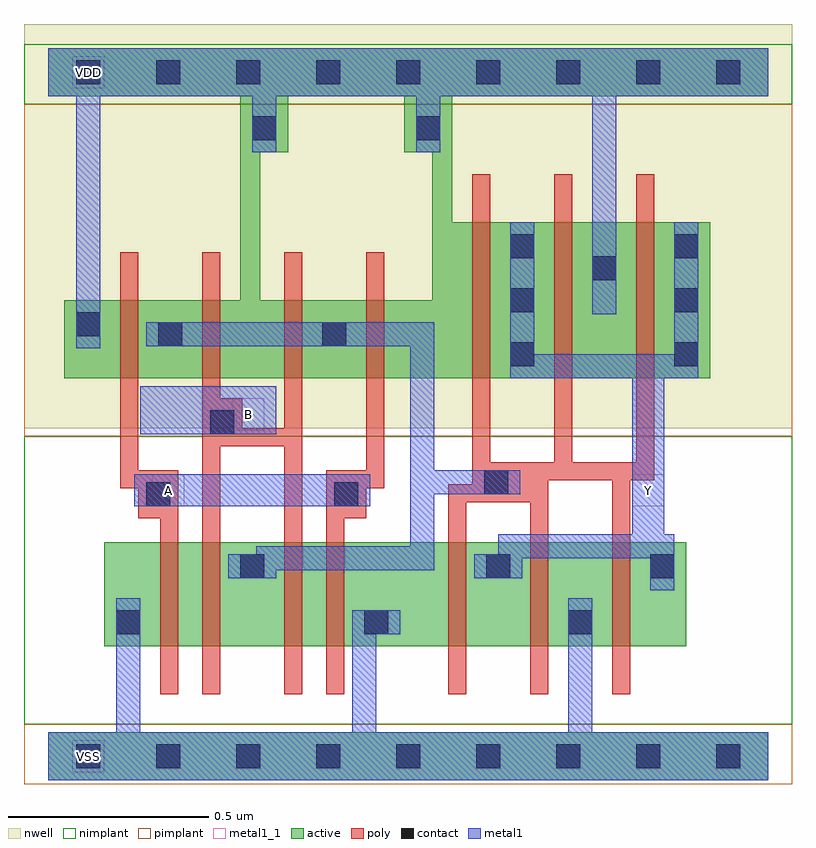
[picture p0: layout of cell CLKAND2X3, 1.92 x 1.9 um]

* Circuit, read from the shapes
.subckt CLKAND2X3 A B VDD VSS Y
M1 n1 A VSS VSS nfet w=0.26u l=0.045u
M2 n2 B n1 VSS nfet w=0.26u l=0.045u
M3 n3 B n2 VSS nfet w=0.26u l=0.045u
M4 VSS A n3 VSS nfet w=0.26u l=0.045u
M5 Y n2 VSS VSS nfet w=0.26u l=0.045u m=3
M6 n2 A VDD VDD pfet w=0.195u l=0.045u m=2
M7 VDD B n2 VDD pfet w=0.195u l=0.045u m=2
M8 Y n2 VDD VDD pfet w=0.39u l=0.045u m=3
.ends

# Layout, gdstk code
import gdstk
lib = gdstk.Library(unit=1e-6, precision=5e-10)
def R(c, l, rs):  # rectangles x0, y0, x1, y1
    for r in rs: c.add(gdstk.rectangle(r[:2], r[2:], *l))
def A(c, l, x, y, w, h, nx, ny, dx, dy):  # array of equal rectangles
    R(c, l, [(x+i*dx, y+j*dy, x+i*dx+w, y+j*dy+h) for i in range(nx) for j in range(ny)])
def P(c, l, *ps):  # polygons
    for p in ps: c.add(gdstk.Polygon(p, *l))
active = (1, 0)
nwell = (2, 0)
poly = (3, 0)
nimplant = (4, 0)
pimplant = (5, 0)
contact = (6, 0)
metal1 = (7, 0)
metal1_1 = (7, 1)

clkand2x3 = lib.new_cell('CLKAND2X3')
R(clkand2x3, active, [(0,-0.06,1.8,0.06), (0.14,0.275,1.595,0.535)])
P(clkand2x3, active, [(0,1.77),(1.8,1.77),(1.8,1.65),(1.01,1.65),(1.01,1.335),(1.655,1.335),(1.655,0.945),(0.04,0.945),(0.04,1.14),(0.48,1.14),(0.48,1.65),(0.6,1.65),(0.6,1.51),(0.53,1.51),(0.53,1.14),(0.96,1.14),(0.96,1.51),(0.89,1.51),(0.89,1.65),(0,1.65)])
R(clkand2x3, nwell, [(-0.06,0.82,1.86,1.83)])
P(clkand2x3, poly, [(1.06,1.455),(1.105,1.455),(1.105,0.735),(1.265,0.735),(1.265,1.455),(1.31,1.455),(1.31,0.735),(1.47,0.735),(1.47,1.455),(1.515,1.455),(1.515,0.69),(1.455,0.69),(1.455,0.155),(1.41,0.155),(1.41,0.69),(1.25,0.69),(1.25,0.155),(1.205,0.155),(1.205,0.635),(1.045,0.635),(1.045,0.155),(1,0.155),(1,0.68),(1.06,0.68)],
  [(0.18,1.26),(0.225,1.26),(0.225,0.715),(0.325,0.715),(0.325,0.155),(0.28,0.155),(0.28,0.595),(0.225,0.595),(0.225,0.67),(0.18,0.67)],
  [(0.385,1.26),(0.43,1.26),(0.43,0.895),(0.485,0.895),(0.485,0.82),(0.59,0.82),(0.59,1.26),(0.635,1.26),(0.635,0.155),(0.59,0.155),(0.59,0.775),(0.43,0.775),(0.43,0.155),(0.385,0.155)],
  [(0.795,1.26),(0.84,1.26),(0.84,0.67),(0.795,0.67),(0.795,0.595),(0.74,0.595),(0.74,0.155),(0.695,0.155),(0.695,0.715),(0.795,0.715)])
R(clkand2x3, nimplant, [(-0.06,0.08,1.86,0.8), (-0.06,1.63,1.86,1.78)])
R(clkand2x3, pimplant, [(-0.06,-0.07,1.86,0.08), (-0.06,0.8,1.86,1.63)])
A(clkand2x3, contact, 0.07, -0.03, 0.06, 0.06, 9, 2, 0.2, 1.71)
A(clkand2x3, contact, 1.155, 0.975, 0.06, 0.06, 1, 3, 0, 0.135)
A(clkand2x3, contact, 1.565, 0.975, 0.06, 0.06, 1, 3, 0, 0.135)
R(clkand2x3, contact, [(0.17,0.305,0.23,0.365), (0.79,0.305,0.85,0.365), (1.3,0.305,1.36,0.365), (0.48,0.445,0.54,0.505), (1.095,0.445,1.155,0.505), (1.505,0.445,1.565,0.505), (0.245,0.625,0.305,0.685), (0.715,0.625,0.775,0.685), (1.09,0.655,1.15,0.715), (0.405,0.805,0.465,0.865), (0.275,1.025,0.335,1.085), (0.685,1.025,0.745,1.085), (0.07,1.05,0.13,1.11), (1.36,1.19,1.42,1.25), (0.51,1.54,0.57,1.6), (0.92,1.54,0.98,1.6)])
R(clkand2x3, metal1, [(0.215,0.625,0.805,0.705), (0.23,0.805,0.57,0.925)])
P(clkand2x3, metal1, [(0,1.77),(1.8,1.77),(1.8,1.65),(1.42,1.65),(1.42,1.105),(1.36,1.105),(1.36,1.65),(0.98,1.65),(0.98,1.51),(0.92,1.51),(0.92,1.65),(0.57,1.65),(0.57,1.51),(0.51,1.51),(0.51,1.65),(0.13,1.65),(0.13,1.02),(0.07,1.02),(0.07,1.65),(0,1.65)],
  [(1.155,1.335),(1.215,1.335),(1.215,1.005),(1.565,1.005),(1.565,1.335),(1.625,1.335),(1.625,0.945),(1.54,0.945),(1.54,0.555),(1.565,0.555),(1.565,0.415),(1.505,0.415),(1.505,0.495),(1.185,0.495),(1.185,0.445),(1.065,0.445),(1.065,0.505),(1.125,0.505),(1.125,0.555),(1.46,0.555),(1.46,0.945),(1.155,0.945)],
  [(0.245,1.085),(0.965,1.085),(0.965,0.715),(1.18,0.715),(1.18,0.655),(0.965,0.655),(0.965,0.465),(0.57,0.465),(0.57,0.445),(0.45,0.445),(0.45,0.505),(0.52,0.505),(0.52,0.525),(0.905,0.525),(0.905,1.025),(0.245,1.025)],
  [(0.17,0.395),(0.23,0.395),(0.23,0.06),(0.76,0.06),(0.76,0.365),(0.88,0.365),(0.88,0.305),(0.82,0.305),(0.82,0.06),(1.3,0.06),(1.3,0.395),(1.36,0.395),(1.36,0.06),(1.8,0.06),(1.8,-0.06),(0,-0.06),(0,0.06),(0.17,0.06)])
R(clkand2x3, metal1_1, [(0.06,-0.04,0.14,0.04), (0.26,0.625,0.34,0.705), (1.46,0.625,1.54,0.705), (0.46,0.815,0.54,0.895), (0.06,1.67,0.14,1.75)])
clkand2x3.add(gdstk.Label('Y', (1.5,0.665), layer=7, texttype=1))
clkand2x3.add(gdstk.Label('B', (0.5,0.855), layer=7, texttype=1))
clkand2x3.add(gdstk.Label('A', (0.3,0.665), layer=7, texttype=1))
clkand2x3.add(gdstk.Label('VDD', (0.1,1.71), layer=7, texttype=1))
clkand2x3.add(gdstk.Label('VSS', (0.1,0), layer=7, texttype=1))
clkand2x3.add(gdstk.Label('CLKAND2X3', (0,0), layer=63, texttype=0))

lib.write_gds('CLKAND2X3.gds')
